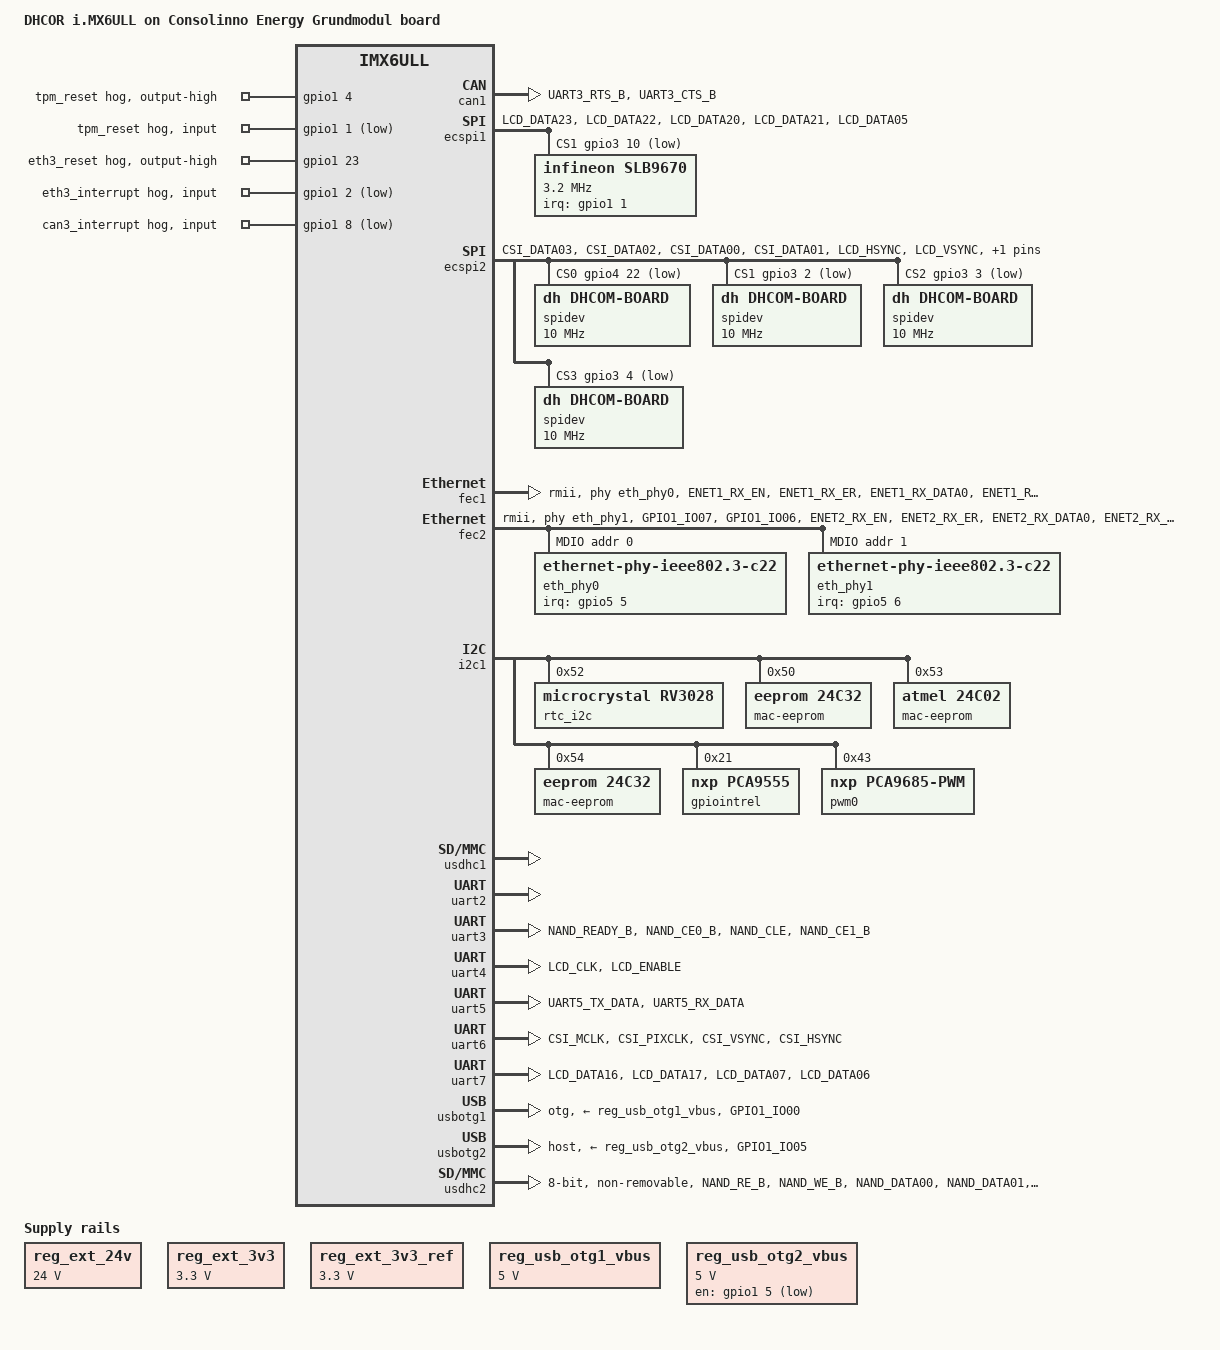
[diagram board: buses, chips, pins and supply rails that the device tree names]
// SPDX-License-Identifier: (GPL-2.0-or-later)
/*
 * Copyright (C) 2018 DH electronics GmbH
 * Copyright (C) 2021 Consolinno Energy GmbH
 */

/dts-v1/;

#include "imx6ull-dhcor.dtsi"
/* Special configurations */
//#include "imx6ull-dhcor-cfg-bootflash.dtsi"

#include <dt-bindings/pwm/pwm.h>

/ {
	model = "DHCOR i.MX6ULL on Consolinno Energy Grundmodul board";
	compatible = "dh,imx6ull-dhcor-consolinno", "fsl,imx6ull";

	aliases {
		rtc0 = &rtc_i2c;
		rtc1 = &snvs_rtc;
		mmc2 = &usdhc2; /* eMMC (on module) should be mmc2 */
		spi0 = &ecspi2;
		spi1 = &ecspi1;
		/delete-property/ spi2; /* Avoid double definitions */
		/delete-property/ spi3;
	};

	reg_ext_24v: regulator-ext-24v {
		compatible = "regulator-fixed";
		regulator-name = "24V_EXT";
		regulator-min-microvolt = <24000000>;
		regulator-max-microvolt = <24000000>;
		regulator-always-on;
	};

	reg_ext_3v3: regulator-ext-3v3 {
		compatible = "regulator-fixed";
		regulator-name = "3V3_EXT";
		regulator-min-microvolt = <3300000>;
		regulator-max-microvolt = <3300000>;
		regulator-always-on;
	};

	reg_ext_3v3_ref: regulator-ext-3v3-ref {
		compatible = "regulator-fixed";
		regulator-name = "VCC_3V3_REF";
		regulator-min-microvolt = <3300000>;
		regulator-max-microvolt = <3300000>;
		regulator-always-on;
	};

	reg_usb_otg1_vbus: regulator-usb-otg1-vbus {
		compatible = "regulator-fixed";
		regulator-name = "usb-otg1-vbus";
		regulator-min-microvolt = <5000000>;
		regulator-max-microvolt = <5000000>;
	};

	reg_usb_otg2_vbus: regulator-usb-otg2-vbus {
		compatible = "regulator-fixed";
		regulator-name = "usb-otg2-vbus";
		regulator-min-microvolt = <5000000>;
		regulator-max-microvolt = <5000000>;
		gpio = <&gpio1 5 GPIO_ACTIVE_LOW>;
	};

	/* fixed crystal dedicated to mcp2515 */
	// clk20m: clk20m {
	// 	compatible = "fixed-clock";
	// 	#clock-cells = <0>;
	// 	clock-frequency = <20000000>;
	// };

};

&can1 {
	pinctrl-names = "default";
	pinctrl-0 = <&pinctrl_flexcan1>;
	status = "okay";
};

#ifndef CFG_BOOTFLASH
&ecspi1 { /* DHCOM SPI1 */
	cs-gpios = <&gpio3 26 GPIO_ACTIVE_LOW>, <&gpio3 10 GPIO_ACTIVE_LOW>;
	pinctrl-names = "default";
	pinctrl-0 = <&pinctrl_ecspi1>;
	power-supply = <&reg_spi_bus>;
	status = "okay";

	// enc28j60: ethernet@0 {
	// 	pinctrl-names = "default";
	// 	pinctrl-0 = <&pinctrl_ecspi1_eth>;
	// 	compatible = "microchip,enc28j60";
	// 	spi-max-frequency = <4000000>;
	// 	// intr-gpio = <&gpio1 2 0>;
	// 	interrupt-parent = <&gpio1>;
	// 	interrupts = <2 IRQ_TYPE_LEVEL_LOW>;
	// 	reg = <0>; //cs0
	// 	status = "okay";
	// };

	slb9670: slb9670@0 {
		pinctrl-names = "default";
		//pinctrl-0 = <&pinctrl_ecspi1_tpm>;
		compatible = "infineon,slb9670";
		spi-max-frequency = <3200000>;
		// TODO: Debug reason for not working interrupt mode
		interrupt-parent = <&gpio1>;
		interrupts = <1 IRQ_TYPE_EDGE_FALLING>;
		reg = <1>; //cs1
		status = "okay";
	};
};
#endif

&ecspi2 {
	//compatible = "spi-gpio";
	cs-gpios = <&gpio4 22 GPIO_ACTIVE_LOW>, <&gpio3 2 GPIO_ACTIVE_LOW>, <&gpio3 3 GPIO_ACTIVE_LOW>, <&gpio3 4 GPIO_ACTIVE_LOW>/*, 
		<&gpiointrel 13 GPIO_ACTIVE_LOW>, <&gpiointrel 12 GPIO_ACTIVE_LOW>, <&gpiointrel 11 GPIO_ACTIVE_LOW>, <&gpiointrel 10 GPIO_ACTIVE_LOW>*/;
	pinctrl-names = "default";
	pinctrl-0 = <&pinctrl_ecspi2>;
	power-supply = <&reg_spi_bus>;
	status = "okay";

	// can3: can@3 {
	// 	compatible = "microchip,mcp2515";
	// 	pinctl-names = "default";
	// 	pinctrl-0 = <&pinctrl_ecspi2_devirq>;
	// 	reg = <2>;
	// 	clocks = <&clk20m>;
	// 	interrupt-parent = <&gpio1>;
	// 	interrupts = <8 0x2>;
	// 	spi-max-frequency = <10000000>;
    // };

	spidev@0{
		compatible = "dh,dhcom-board";
		reg = <0>;      /* CE0 */
		spi-max-frequency = <10000000>;
    };

	spidev@1{
		compatible = "dh,dhcom-board";
		reg = <1>;      /* CE1 */
		spi-max-frequency = <10000000>;
    };

	spidev@2{
		compatible = "dh,dhcom-board";
		reg = <2>;      /* CE2 */
		spi-max-frequency = <10000000>;
    };

	spidev@3{
		compatible = "dh,dhcom-board";
		reg = <3>;      /* CE3 */
		spi-max-frequency = <10000000>;
    };

	// Spi cs lines from gpio expander, should be improved to prevent errors
	// spidev@4{
	// 	compatible = "dh,dhcom-board";
	// 	reg = <4>;      /* CE4 */
	// 	spi-max-frequency = <4000000>;
    // };
	// spidev@5{
	// 	compatible = "dh,dhcom-board";
	// 	reg = <5>;      /* CE5 */
	// 	spi-max-frequency = <4000000>;
    // };
	
	// spidev@6{
	// 	compatible = "dh,dhcom-board";
	// 	reg = <6>;      /* CE6 */
	// 	spi-max-frequency = <4000000>;
    // };

	// spidev@7{
	// 	compatible = "dh,dhcom-board";
	// 	reg = <7>;      /* CE7 */
	// 	spi-max-frequency = <4000000>;
    // };
	
};

&fec1 {
	pinctrl-names = "default";
	pinctrl-0 = <&pinctrl_enet1>;
	phy-mode = "rmii";
	phy-reset-gpios = <&gpio3 23 GPIO_ACTIVE_LOW>;
	phy-reset-duration = <1>;
	phy-reset-post-delay = <10>;
	phy-handle = <&eth_phy0>;
	status = "okay";
};

&fec2 {
	pinctrl-names = "default";
	pinctrl-0 = <&pinctrl_enet2>;
	phy-mode = "rmii";
	phy-reset-gpios = <&gpio3 24 GPIO_ACTIVE_LOW>;
	phy-reset-duration = <1>;
	phy-reset-post-delay = <10>;
	phy-reset-additional-enet-iface = <&fec1>;
	phy-handle = <&eth_phy1>;
	status = "okay";

	mdio {
		#address-cells = <1>;
		#size-cells = <0>;

		eth_phy0: ethernet-phy@0 { /* SMSC LAN8710Ai */
			pinctrl-names = "default";
			pinctrl-0 = <&pinctrl_snvs_eth_phy0>;
			compatible = "ethernet-phy-ieee802.3-c22";
			reg = <0>;
		/* TODO: If this is active SMSC phy isn't accessible
			reset-gpios = <&gpio3 23 GPIO_ACTIVE_LOW>;
			reset-assert-us = <1000>;
			reset-deassert-us = <10000>; */
			clocks = <&clks IMX6UL_CLK_ENET_REF>;
			clock-names = "rmii-ref";
			interrupt-parent = <&gpio5>;
			interrupts = <5 IRQ_TYPE_LEVEL_LOW>;
			smsc,disable-energy-detect; /* Make plugin detection reliable */
			max-speed = <100>;
		};

		eth_phy1: ethernet-phy@1 { /* SMSC LAN8710Ai */
			pinctrl-names = "default";
			pinctrl-0 = <&pinctrl_snvs_eth_phy1>;
			compatible = "ethernet-phy-ieee802.3-c22";
			reg = <1>;
		/* TODO: If this is active SMSC phy isn't accessible
			reset-gpios = <&gpio3 24 GPIO_ACTIVE_LOW>;
			reset-assert-us = <1000>;
			reset-deassert-us = <10000>; */
			clocks = <&clks IMX6UL_CLK_ENET2_REF>;
			clock-names = "rmii-ref";
			interrupt-parent = <&gpio5>;
			interrupts = <6 IRQ_TYPE_LEVEL_LOW>;
			smsc,disable-energy-detect; /* Make plugin detection reliable */
			max-speed = <100>;
		};
	};
};

&gpio1 {		/* 0      1      2      3      4      5      6      7  */
	gpio-line-names =  ""   , ""   , ""   , ""   , ""   , ""   , ""   , ""   ,
			/* 8      9      10     11     12     13     14     15 */
			   ""   , ""   , ""   , "INT", ""   , ""   , ""   , ""   ,
			/* 16     17     18     19     20     21     22     23 */
			   ""   , ""   , "I"  , ""   , ""   , ""   , ""   , ""   ,
			/* 24     25     26     27     28     29     30     31 */
			   ""   , ""   , ""   , ""   , ""   , ""   , ""   , ""   ;
	
	tpm_reset {
        gpio-hog;
        gpios = <4 GPIO_ACTIVE_HIGH>;
        output-high;
        line-name = "tpm_reset";
    };

	tpm_interrupt {
        gpio-hog;
        gpios = <1 GPIO_ACTIVE_LOW>;
        input;
        line-name = "tpm_reset";
    };

	eth3_reset {
        gpio-hog;
        gpios = <23 GPIO_ACTIVE_HIGH>;
        output-high;
        line-name = "eth3_reset";
    };

	eth3_interrupt {
        gpio-hog;
        gpios = <2 GPIO_ACTIVE_LOW>;
        input;
        line-name = "eth3_interrupt";
    };

	can3_interrupt {
        gpio-hog;
        gpios = <8 GPIO_ACTIVE_LOW>;
        input;
        line-name = "can3_interrupt";
    };
};

&gpio2 {		/* 0      1      2      3      4      5      6      7  */
	gpio-line-names =  ""   , ""   , ""   , ""   , ""   , ""   , ""   , ""   ,
			/* 8      9      10     11     12     13     14     15 */
			   ""   , ""   , ""   , ""   , ""   , ""   , ""   , ""   ,
			/* 16     17     18     19     20     21     22     23 */
			   ""   , ""   , ""   , ""   , ""   , ""   , ""   , ""   ,
			/* 24     25     26     27     28     29     30     31 */
			   ""   , ""   , ""   , ""   , ""   , ""   , ""   , ""   ;
};

&gpio3 {		/* 0      1      2      3      4      5      6      7  */
	gpio-line-names =  ""   , ""   , ""   , ""   , ""   , ""   , ""   , ""   ,
			/* 8      9      10     11     12     13     14     15 */
			   ""   , ""   , ""   , ""   , ""   , ""   , ""   , ""   ,
			/* 16     17     18     19     20     21     22     23 */
			   ""   , ""   , ""   , ""   , ""   , ""   , ""   , ""   ,
			/* 24     25     26     27     28     29     30     31 */
			   ""   , ""   , ""   , ""   , ""   , ""   , ""   , ""   ;
};

&gpio4 {		/* 0      1      2      3      4      5      6      7  */
	gpio-line-names =  ""   , ""   , ""   , ""   , ""   , ""   , "",    ""   ,
			/* 8      9      10     11     12     13     14     15 */
			   ""   , ""   , ""   , ""   , ""   , ""   , ""   , ""   ,
			/* 16     17     18     19     20     21     22     23 */
			   ""   , "L"  , "K"  , "M"  , "J"  , "U"  , "T"  , "S"  ,
			/* 24     25     26     27     28     29     30     31 */
			   "R"  , "Q"  , "P"  , "O"  , "N"  , ""   , ""   , ""   ;
};

&gpio5 {		/* 0      1      2      3      4      5      6      7  */
	gpio-line-names =  "A"  , "B"  , "C"  , "D"  , "E"  , ""   , ""   , "F"  ,
			/* 8      9      10     11     12     13     14     15 */
			   "G"  , "H"  , ""   , ""   , ""   , ""   , ""   , ""   ,
			/* 16     17     18     19     20     21     22     23 */
			   ""   , ""   , ""   , ""   , ""   , ""   , ""   , ""   ,
			/* 24     25     26     27     28     29     30     31 */
			   ""   , ""   , ""   , ""   , ""   , ""   , ""   , ""   ;
};

&i2c1 { /* DHCOM I2C2 */
	// TODO, complete rtc setup
	rtc_i2c: rtc@52 {
		compatible = "microcrystal,rv3028";
		reg = <0x52>;
	};

	// TODO: original eeprom was 0x50, so in that case we have to customize uboot src for mac loading of enet1
	// https://github.com/dh-electronics/u-boot-imx6qdl
	// https://github.com/dh-electronics/u-boot-imx6qdl/blob/dev/2018.05_dhcom/board/dhelectronics/dh_imx6ull/dh_imx6ull.c#L68
	// replace 0x50 -> 0x51

	mac-eeprom@50 { /* Microchip 24AA025E48T-I/OT containing MAC for enet1 */
		compatible = "atmel,24c02";
		reg = <0x50>;
		pagesize = <16>;
	};

	mac-eeprom@53 { /* Microchip 24AA025E48T-I/OT containing MAC for enet2 */
		compatible = "atmel,24c02";
		reg = <0x53>;
		pagesize = <16>;
	};

	mac-eeprom@50 { /* eeprom for  */
		compatible = "eeprom,24c32";
		reg = <0x50>;
		pagesize = <32>;
	};

	mac-eeprom@54 { /* eeprom for  */
		compatible = "eeprom,24c32";
		reg = <0x54>;
		pagesize = <32>;
	};

	// GPIO Expander for internal relais
	gpiointrel: gpio-intrel@21 {
		compatible = "nxp,pca9555";
		gpio-controller;
		#gpio-cells = <2>;
		reg = <0x21>;
	};

	pwm0: pca-mod0@43 {
		compatible = "nxp,pca9685-pwm";
		gpio-controller;
		#gpio-cells = <2>;
		reg = <0x43>;
		invert;
		open-drain;
	};


};


&usdhc1 { //Disable wifi
	//status = "disabled";
	status = "okay";
};

&uart2 { // disable bluetooth
	//status = "disabled";
	status = "okay";
};

&uart3 { /* Consolinno CLS RS485 pin header */
	pinctrl-names = "default";
	pinctrl-0 = <&pinctrl_uart3>;
	uart-has-rtscts;
	linux,rs485-enabled-at-boot-time;
	status = "okay";
};

&uart4 { /* Consolinno CLS wmbus */
	pinctrl-names = "default";
	pinctrl-0 = <&pinctrl_uart4>;
	status = "okay";
};

&uart5 { /* Consolinno CLS H-BUS */
	pinctrl-names = "default";
	pinctrl-0 = <&pinctrl_uart5>;
	status = "okay";
};

&uart6 { /* Consolinno CLS RS485-2 */
	pinctrl-names = "default";
	pinctrl-0 = <&pinctrl_uart6>;
	uart-has-rtscts;
	linux,rs485-enabled-at-boot-time;
	status = "okay";
};

&uart7 { /* Consolinno CLS RS232 */
	pinctrl-names = "default";
	pinctrl-0 = <&pinctrl_uart7>;
	status = "okay";
};

&usbotg1 {
	vbus-supply = <&reg_usb_otg1_vbus>;
	pinctrl-names = "default";
	pinctrl-0 = <&pinctrl_usbotg1>;
	disable-over-current;
	dr_mode = "otg";
	srp-disable;
	hnp-disable;
	adp-disable;
	status = "okay";
};

&usbotg2 {
	vbus-supply = <&reg_usb_otg2_vbus>;
	pinctrl-names = "default";
	pinctrl-0 = <&pinctrl_usbotg2>;
	disable-over-current;
	dr_mode = "host";
	tpl-support;
	status = "okay";
};

&usbphy1 {
	fsl,tx-d-cal = <106>;
};

&usbphy2 {
	fsl,tx-d-cal = <106>;
};

&usdhc2 { /* eMMC (on module) */
	pinctrl-names = "default";
	pinctrl-0 = <&pinctrl_usdhc2>;
	non-removable;
	bus-width = <8>;
	no-1-8-v;
	keep-power-in-suspend;
	status = "okay";
};

&iomuxc {
	pinctrl-names = "default";
	pinctrl-0 = <&pinctrl_hog_pdk2>;

	pinctrl_hog_pdk2: hog-pdk2-grp {
		fsl,pins = <
			MX6UL_PAD_UART1_CTS_B__GPIO1_IO18	0x400120b0 /* GPIO I -> BT_REG_ON (BT on LGA) */

#ifndef CFG_BOOTFLASH
			MX6UL_PAD_CSI_DATA07__GPIO4_IO28	0x400120b0 /* GPIO N */
			MX6UL_PAD_CSI_DATA06__GPIO4_IO27	0x400120b0 /* GPIO O */
			MX6UL_PAD_CSI_DATA05__GPIO4_IO26	0x400120b0 /* GPIO P */
			MX6UL_PAD_CSI_DATA04__GPIO4_IO25	0x400120b0 /* GPIO Q */
#endif

			MX6UL_PAD_JTAG_TMS__GPIO1_IO11		0x400120b0 /* INT_HIGHEST_PRIORITY */
			MX6UL_PAD_UART2_RTS_B__GPIO1_IO23 	0x400120b0 /* reset enc28j60*/
			MX6UL_PAD_UART2_CTS_B__GPIO1_IO22	0x400120b0 /* status led3 */
		>;
	};

	pinctrl_ecspi1: ecspi1-grp {
		fsl,pins = <
			MX6UL_PAD_LCD_DATA23__ECSPI1_MISO	0x100b1
			MX6UL_PAD_LCD_DATA22__ECSPI1_MOSI	0x100b1
			MX6UL_PAD_LCD_DATA20__ECSPI1_SCLK	0x100b1
			MX6UL_PAD_LCD_DATA21__GPIO3_IO26	0x1b0b0 	/* SS0 */
			MX6UL_PAD_LCD_DATA05__GPIO3_IO10  	0x1b0b0 	/* SS1 */	
		>;
	};

	pinctrl_ecspi2: ecspi2-grp {
		fsl,pins = <
			MX6UL_PAD_CSI_DATA03__ECSPI2_MISO	0x100b1
			MX6UL_PAD_CSI_DATA02__ECSPI2_MOSI	0x100b1
			MX6UL_PAD_CSI_DATA00__ECSPI2_SCLK	0x100b1
			MX6UL_PAD_CSI_DATA01__GPIO4_IO22 	0x1b0b0		/* SS0 */
			MX6UL_PAD_LCD_HSYNC__GPIO3_IO02  	0x1b0b0 	/* SS1 */
			MX6UL_PAD_LCD_VSYNC__GPIO3_IO03  	0x1b0b0 	/* SS2 */	
			MX6UL_PAD_LCD_RESET__GPIO3_IO04  	0x1b0b0 	/* SS3 */
		>;
	};

	pinctrl_ecspi1_eth: ecspi1-eth-grp {
		fsl,pins = <
			MX6UL_PAD_GPIO1_IO02__GPIO1_IO02	0x1b0b0 /* SMSC phy INT */
		>;

	};


	pinctrl_ecspi1_tpm: ecspi1-tpm-grp {
		fsl,pins = <
			MX6UL_PAD_GPIO1_IO01__GPIO1_IO01	0x1b0b0 /* irq */
		>;
	};

	pinctrl_ecspi2_devirq: ecspi2-devirq-grp {
		fsl,pins = <
			MX6UL_PAD_GPIO1_IO08__GPIO1_IO08	0x1b0b0 /* irq from pwm/adc input for testing purpose*/
		>;
	};

	pinctrl_enet1: enet1-grp {
		fsl,pins = <
			/* enet1 uses MDIO bus from enet2 */
			MX6UL_PAD_ENET1_RX_EN__ENET1_RX_EN	0x1b0b0
			MX6UL_PAD_ENET1_RX_ER__ENET1_RX_ER	0x1b0b0
			MX6UL_PAD_ENET1_RX_DATA0__ENET1_RDATA00	0x1b0b0
			MX6UL_PAD_ENET1_RX_DATA1__ENET1_RDATA01	0x1b0b0
			MX6UL_PAD_ENET1_TX_EN__ENET1_TX_EN	0x1b010
			MX6UL_PAD_ENET1_TX_DATA0__ENET1_TDATA00	0x1b010
			MX6UL_PAD_ENET1_TX_DATA1__ENET1_TDATA01	0x1b010
			MX6UL_PAD_ENET1_TX_CLK__ENET1_REF_CLK1	0x4001b010
			MX6UL_PAD_LCD_DATA18__GPIO3_IO23	0xb0 /* SMSC phy reset */
		>;
	};

	pinctrl_enet2: enet2-grp {
		fsl,pins = <
			MX6UL_PAD_GPIO1_IO07__ENET2_MDC		0x1b0b0
			MX6UL_PAD_GPIO1_IO06__ENET2_MDIO	0x1b0b0
			MX6UL_PAD_ENET2_RX_EN__ENET2_RX_EN	0x1b0b0
			MX6UL_PAD_ENET2_RX_ER__ENET2_RX_ER	0x1b0b0
			MX6UL_PAD_ENET2_RX_DATA0__ENET2_RDATA00	0x1b0b0
			MX6UL_PAD_ENET2_RX_DATA1__ENET2_RDATA01	0x1b0b0
			MX6UL_PAD_ENET2_TX_EN__ENET2_TX_EN	0x1b010
			MX6UL_PAD_ENET2_TX_DATA0__ENET2_TDATA00	0x1b010
			MX6UL_PAD_ENET2_TX_DATA1__ENET2_TDATA01	0x1b010
			MX6UL_PAD_ENET2_TX_CLK__ENET2_REF_CLK2	0x4001b010
			MX6UL_PAD_LCD_DATA19__GPIO3_IO24	0xb0 /* SMSC phy reset */
		>;
	};

	pinctrl_flexcan1: flexcan1-grp{
		fsl,pins = <
			MX6UL_PAD_UART3_RTS_B__FLEXCAN1_RX	0x1b020
			MX6UL_PAD_UART3_CTS_B__FLEXCAN1_TX	0x1b020
		>;
	};

	pinctrl_sai2: sai2-grp {
		fsl,pins = <
			MX6UL_PAD_JTAG_TCK__SAI2_RX_DATA	0x130b0
			MX6UL_PAD_JTAG_TDI__SAI2_TX_BCLK	0x17088
			MX6UL_PAD_JTAG_TDO__SAI2_TX_SYNC	0x17088
			MX6UL_PAD_JTAG_TRST_B__SAI2_TX_DATA	0x120b0
		>;
	};

	pinctrl_uart3: uart3-grp{
		fsl,pins = <
			MX6UL_PAD_NAND_READY_B__UART3_DCE_TX	0x1b0b1
			MX6UL_PAD_NAND_CE0_B__UART3_DCE_RX	0x1b0b1
			MX6UL_PAD_NAND_CLE__UART3_DCE_RTS	0x1b0b1
			MX6UL_PAD_NAND_CE1_B__UART3_DCE_CTS	0x1b0b1
		>;
	};

	pinctrl_uart4: uart4-grp{
		fsl,pins = <
			MX6UL_PAD_LCD_CLK__UART4_DCE_TX		0x1b0b1
			MX6UL_PAD_LCD_ENABLE__UART4_DCE_RX	0x1b0b1
		>;
	};

	pinctrl_uart5: uart5-grp{
		fsl,pins = <
			MX6UL_PAD_UART5_TX_DATA__UART5_DCE_TX	0x1b0b1
			MX6UL_PAD_UART5_RX_DATA__UART5_DCE_RX	0x1b0b1
		>;
	};

	pinctrl_uart6: uart6-grp {
		fsl,pins = <
			MX6UL_PAD_CSI_MCLK__UART6_DCE_TX	0x1b0b1
			MX6UL_PAD_CSI_PIXCLK__UART6_DCE_RX	0x1b0b1
			MX6UL_PAD_CSI_VSYNC__UART6_DCE_RTS	0x1b0b1
			MX6UL_PAD_CSI_HSYNC__UART6_DCE_CTS	0x1b0b1
		>;
	};

	pinctrl_uart7: uart7-grp {
		fsl,pins = <
			MX6UL_PAD_LCD_DATA16__UART7_DCE_TX	0x1b0b1
			MX6UL_PAD_LCD_DATA17__UART7_DCE_RX	0x1b0b1
			MX6UL_PAD_LCD_DATA07__UART7_DCE_RTS	0x1b0b1
			MX6UL_PAD_LCD_DATA06__UART7_DCE_CTS	0x1b0b1
		>;
	};

	pinctrl_usbotg1: usbotg1-grp {
		fsl,pins = <
			MX6UL_PAD_GPIO1_IO00__ANATOP_OTG1_ID	0x17059
		>;
	};

	pinctrl_usbotg2: usbotg2-grp {
		fsl,pins = <
			MX6UL_PAD_GPIO1_IO05__GPIO1_IO05	0x120b0
		>;
	};

	pinctrl_usdhc2: usdhc2-grp {
		fsl,pins = <
			MX6UL_PAD_NAND_RE_B__USDHC2_CLK		0x10069
			MX6UL_PAD_NAND_WE_B__USDHC2_CMD		0x17059
			MX6UL_PAD_NAND_DATA00__USDHC2_DATA0	0x17059
			MX6UL_PAD_NAND_DATA01__USDHC2_DATA1	0x17059
			MX6UL_PAD_NAND_DATA02__USDHC2_DATA2	0x17059
			MX6UL_PAD_NAND_DATA03__USDHC2_DATA3	0x17059
			MX6UL_PAD_NAND_DATA04__USDHC2_DATA4	0x17059
			MX6UL_PAD_NAND_DATA05__USDHC2_DATA5	0x17059
			MX6UL_PAD_NAND_DATA06__USDHC2_DATA6	0x17059
			MX6UL_PAD_NAND_DATA07__USDHC2_DATA7	0x17059
			MX6UL_PAD_NAND_ALE__USDHC2_RESET_B	0x17059 /* SD2 RESET */
		>;
	};
};

&iomuxc_snvs {
	pinctrl-names = "default";
	pinctrl-0 = <&pinctrl_snvs_hog_pdk2>;

	pinctrl_snvs_hog_pdk2: snvs-hog-pdk2-grp {
		fsl,pins = <
			MX6ULL_PAD_SNVS_TAMPER0__GPIO5_IO00	0x400120b0 /* GPIO A, Potential Free Input IN 2 */
			MX6ULL_PAD_SNVS_TAMPER1__GPIO5_IO01	0x400120b0 /* GPIO B, Potential Free Input IN 1 */
			MX6ULL_PAD_SNVS_TAMPER2__GPIO5_IO02	0x400120b0 /* GPIO C */
			MX6ULL_PAD_SNVS_TAMPER3__GPIO5_IO03	0x400120b0 /* GPIO D, Potential Free Input IN 3 */
			MX6ULL_PAD_SNVS_TAMPER4__GPIO5_IO04	0x120b0    /* GPIO E, Potential Free Input IN 4 */
			MX6ULL_PAD_SNVS_TAMPER7__GPIO5_IO07	0x400120b0 /* GPIO F */
			MX6ULL_PAD_SNVS_TAMPER8__GPIO5_IO08	0x120b0    /* GPIO G -> Backlight enable */
			/*MX6ULL_PAD_SNVS_TAMPER9__GPIO5_IO09	0x1b0b0*/    /* GPIO H -> WL_REG_ON (WiFi on LGA) */
		>;
	};

	pinctrl_snvs_eth_phy0: snvs-eth-phy0-grp {
		fsl,pins = <
			MX6ULL_PAD_SNVS_TAMPER5__GPIO5_IO05	0xb0 /* SMSC phy INT */
		>;
	};

	pinctrl_snvs_eth_phy1: snvs-eth-phy1-grp {
		fsl,pins = <
			MX6ULL_PAD_SNVS_TAMPER6__GPIO5_IO06	0xb0 /* SMSC phy INT */
		>;
	};
};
